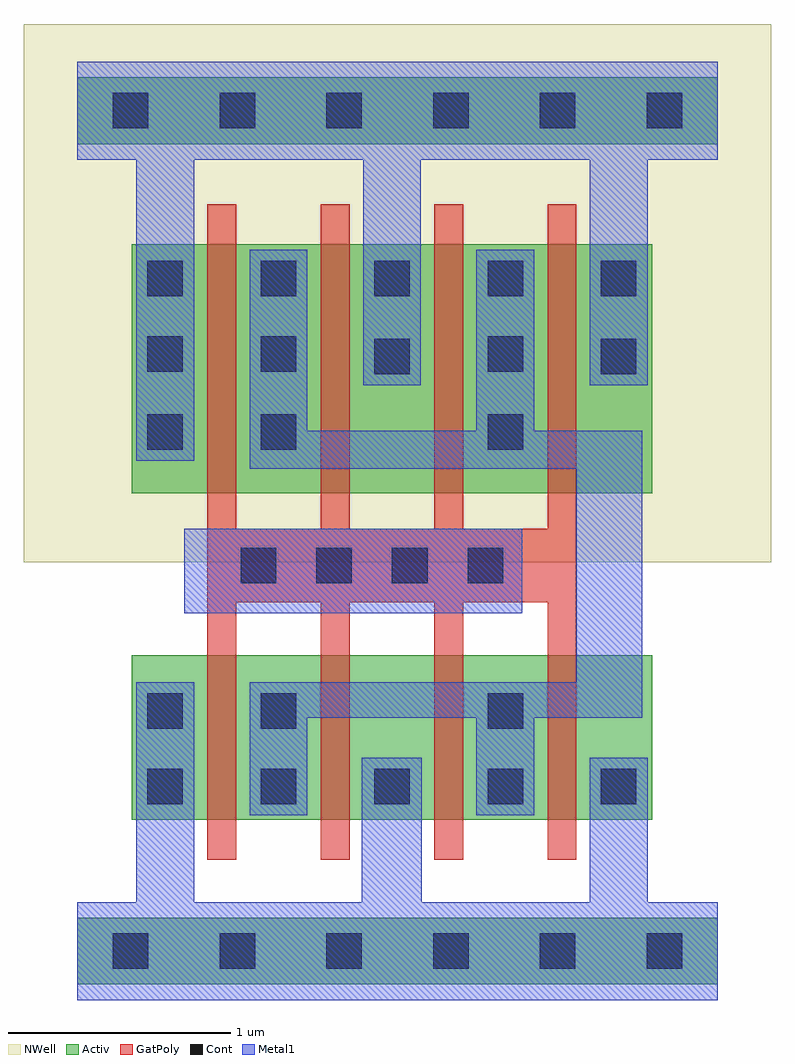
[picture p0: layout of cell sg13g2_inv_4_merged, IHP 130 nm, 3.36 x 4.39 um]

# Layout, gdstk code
import gdstk
lib = gdstk.Library(unit=1e-6, precision=1e-09)
def R(c, l, rs):  # rectangles x0, y0, x1, y1
    for r in rs: c.add(gdstk.rectangle(r[:2], r[2:], *l))
def A(c, l, x, y, w, h, nx, ny, dx, dy):  # array of equal rectangles
    R(c, l, [(x+i*dx, y+j*dy, x+i*dx+w, y+j*dy+h) for i in range(nx) for j in range(ny)])
def P(c, l, *ps):  # polygons
    for p in ps: c.add(gdstk.Polygon(p, *l))
Activ = (1, 0)
GatPoly = (5, 0)
Cont = (6, 0)
Metal1 = (8, 0)
NWell = (31, 0)

sg13g2_inv_4_merged = lib.new_cell('sg13g2_inv_4_merged')
R(sg13g2_inv_4_merged, Activ, [(0,-0.15,2.88,0.15), (0.245,0.59,2.585,1.33), (0.245,2.06,2.585,3.18), (0,3.63,2.88,3.93)])
P(sg13g2_inv_4_merged, GatPoly, [(0.585,0.41),(0.585,3.36),(0.715,3.36),(0.715,1.9),(1.095,1.9),(1.095,3.36),(1.225,3.36),(1.225,1.9),(1.605,1.9),(1.605,3.36),(1.735,3.36),(1.735,1.9),(2.115,1.9),(2.115,3.36),(2.245,3.36),(2.245,0.41),(2.115,0.41),(2.115,1.57),(1.735,1.57),(1.735,0.41),(1.605,0.41),(1.605,1.57),(1.225,1.57),(1.225,0.41),(1.095,0.41),(1.095,1.57),(0.715,1.57),(0.715,0.41)])
A(sg13g2_inv_4_merged, Cont, 0.16, -0.08, 0.16, 0.16, 6, 2, 0.48, 3.78)
A(sg13g2_inv_4_merged, Cont, 0.315, 0.66, 0.16, 0.16, 5, 2, 0.51, 2.285)
A(sg13g2_inv_4_merged, Cont, 0.735, 1.655, 0.16, 0.16, 4, 1, 0.34, 0)
R(sg13g2_inv_4_merged, Cont, [(0.315,1,0.475,1.16), (0.825,1,0.985,1.16), (1.845,1,2.005,1.16), (0.315,2.255,0.475,2.415), (0.825,2.255,0.985,2.415), (1.845,2.255,2.005,2.415), (1.335,2.595,1.495,2.755), (2.355,2.595,2.515,2.755), (0.315,2.605,0.475,2.765), (0.825,2.605,0.985,2.765), (1.845,2.605,2.005,2.765)])
R(sg13g2_inv_4_merged, Metal1, [(0.48,1.52,2,1.9)])
P(sg13g2_inv_4_merged, Metal1, [(0,-0.22),(0,0.22),(0.265,0.22),(0.265,1.21),(0.525,1.21),(0.525,0.22),(1.28,0.22),(1.28,0.87),(1.55,0.87),(1.55,0.22),(2.305,0.22),(2.305,0.87),(2.565,0.87),(2.565,0.22),(2.88,0.22),(2.88,-0.22)],
  [(0.775,0.61),(0.775,1.21),(2.245,1.21),(2.245,2.17),(0.775,2.17),(0.775,3.155),(1.035,3.155),(1.035,2.34),(1.795,2.34),(1.795,3.155),(2.055,3.155),(2.055,2.34),(2.54,2.34),(2.54,1.05),(2.055,1.05),(2.055,0.61),(1.795,0.61),(1.795,1.05),(1.035,1.05),(1.035,0.61)],
  [(0.265,2.205),(0.265,3.56),(0,3.56),(0,4),(2.88,4),(2.88,3.56),(2.565,3.56),(2.565,2.545),(2.305,2.545),(2.305,3.56),(1.545,3.56),(1.545,2.545),(1.285,2.545),(1.285,3.56),(0.525,3.56),(0.525,2.205)])
R(sg13g2_inv_4_merged, NWell, [(-0.24,1.75,3.12,4.17)])

lib.write_gds('sg13g2_inv_4_merged.gds')
